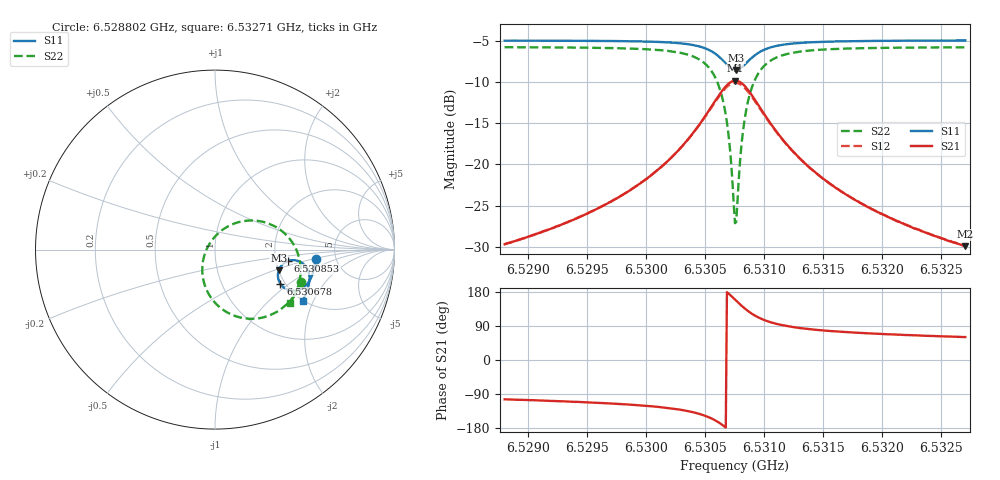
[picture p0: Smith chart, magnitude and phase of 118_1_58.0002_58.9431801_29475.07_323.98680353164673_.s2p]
#  HZ  S  RI  R  50.00
! Rohde & Schwarz Vector Network Analyzer
! Rohde-Schwarz,ZNB20-2Port,1311601062101988,3.16
! Created: UTC 3/21/2024, 12:55:35 AM
! freq[Hz]  re:S11  im:S11  re:S21  im:S21  re:S12  im:S12  re:S22  im:S22
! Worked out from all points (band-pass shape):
!   401 points, 6.528802 GHz to 6.53271 GHz, reference 50 ohm
!   highest |S21| = -9.84 dB at 6.530756 GHz (marker M1); lowest = -29.9 dB at 6.53271 GHz (marker M2)
!   |S21| within 3 dB of the highest: 6.530563 GHz to 6.530955 GHz (392.2 kHz wide, 0.00601 % of centre)
!   lowest |S11| = -8.6 dB at 6.530766 GHz (marker M3), VSWR 2.19, Z = 100 - j26.8 ohm
!   |S11| at or under -10 dB: nowhere
!   |S22| runs from -27.1 to -5.8 dB; largest |S21 - S12| = 0.013
!   S11 on the Smith chart (normalised r, x): 6.528802 GHz: 3.48, -0.55; 6.530678 GHz: 1.89, -0.86; 6.530853 GHz: 2.34, -0.36; 6.53271 GHz: 1.99, -1.66
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6.5288019e9  0.5604 -0.0544  -0.00782 -0.0318  -0.00846 -0.0316  0.4802 -0.1833
6.5294565e9  0.5511 -0.11  -0.0174 -0.0453  -0.0185 -0.0449  0.4481 -0.2453
6.5298082e9  0.5409 -0.1436  -0.0296 -0.0586  -0.031 -0.058  0.4162 -0.2879
6.530111e9  0.524 -0.1777  -0.0524 -0.0779  -0.0547 -0.0763  0.3636 -0.3348
6.5303455e9  0.4952 -0.2095  -0.0965 -0.0993  -0.0996 -0.0959  0.2746 -0.3763
6.5305116e9  0.4483 -0.2288  -0.1705 -0.1054  -0.1728 -0.098  0.1386 -0.3779
6.5306093e9  0.4004 -0.2213  -0.2452 -0.0742  -0.2438 -0.0636  0.0149 -0.3109
6.5306776e9  0.364 -0.1899  -0.2974 -0.00824  -0.2905 0.00233  -0.0597 -0.1898
6.530707e9  0.3538 -0.1675  -0.3095 0.0339  -0.3 0.0428  -0.071 -0.1178
6.530746e9  0.3512 -0.1324  -0.3065 0.0971  -0.2947 0.1023  -0.0536 -0.0149
6.5307558e9  0.3529 -0.1234  -0.3019 0.1126  -0.2898 0.1168  -0.0429 0.00962
6.5307656e9  0.3556 -0.1148  -0.2955 0.1279  -0.2836 0.1309  -0.0298 0.0333
6.5307753e9  0.3591 -0.1064  -0.2879 0.1423  -0.2761 0.1443  -0.0145 0.0553
6.5308144e9  0.3805 -0.0787  -0.2457 0.1892  -0.2357 0.1877  0.0631 0.1241
6.5308535e9  0.4085 -0.063  -0.1949 0.2153  -0.1875 0.212  0.1515 0.1574
6.5309219e9  0.4541 -0.0607  -0.1152 0.2198  -0.1114 0.2163  0.2857 0.1494
6.5310196e9  0.4949 -0.082  -0.0456 0.1885  -0.0439 0.1865  0.3983 0.08
6.5311661e9  0.5195 -0.1184  -0.00324 0.1397  -0.00188 0.139  0.4607 -0.0194
6.5314103e9  0.5267 -0.1625  0.0151 0.0914  0.0161 0.0912  0.4773 -0.1207
6.5317132e9  0.5218 -0.2  0.0186 0.0619  0.0195 0.0616  0.4676 -0.1898
6.5320649e9  0.5114 -0.2335  0.0181 0.044  0.0187 0.0438  0.4502 -0.2396
6.5327097e9  0.4884 -0.2839  0.0157 0.0278  0.0163 0.0276  0.4168 -0.2998
